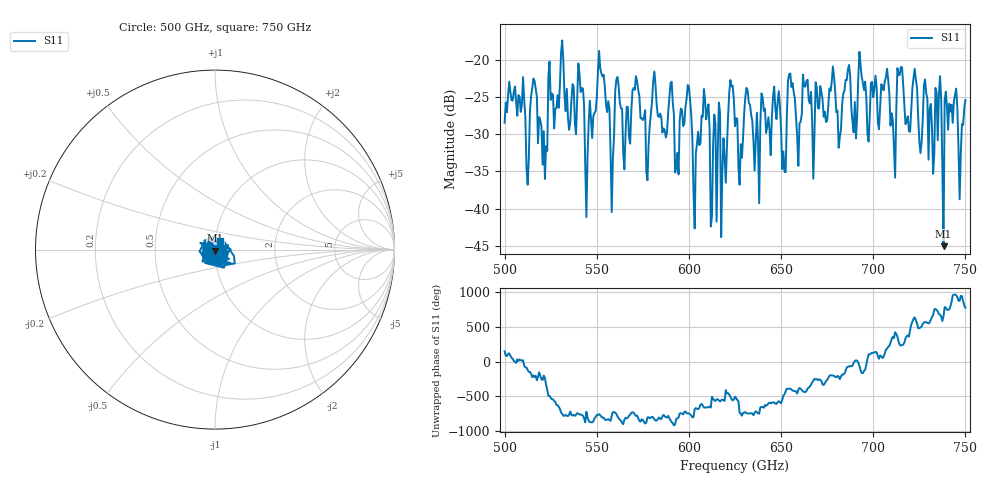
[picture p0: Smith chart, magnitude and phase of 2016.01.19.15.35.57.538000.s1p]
!Created with skrf (http://scikit-rf.org).
# GHz S RI R 50.0
!freq ReS11 ImS11
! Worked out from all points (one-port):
!   401 points, 500 GHz to 750 GHz, reference 50 ohm
!   lowest |S11| = -45.0 dB at 738.1 GHz (marker M1), VSWR 1.01, Z = 50.2 - j0.525 ohm
!   |S11| at or under -10 dB: start of sweep to end of sweep
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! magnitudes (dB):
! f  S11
! 500 GHz  -28.5
! 512.5 GHz  -36.8
! 516.2 GHz  -22.9
! 521.9 GHz  -36.0
! 531.2 GHz  -17.4
! 541.2 GHz  -24.4
! 544.4 GHz  -41.1
! 551.9 GHz  -21.2
! 558.1 GHz  -40.4
! 562.5 GHz  -25.8
! 578.1 GHz  -31.4
! 590.6 GHz  -23.0
! 593.8 GHz  -32.5
! 599.4 GHz  -23.4
! 603.1 GHz  -42.6
! 609.4 GHz  -28.0
! 618.8 GHz  -30.5
! 625 GHz  -28.9
! 628.1 GHz  -31.3
! 631.2 GHz  -23.8
! 636.9 GHz  -27.1
! 647.5 GHz  -28.0
! 651.2 GHz  -32.3
! 656.2 GHz  -23.2
! 687.5 GHz  -22.3
! 718.8 GHz  -27.6
! 738.1 GHz  -45.0
! 750 GHz  -25.4
